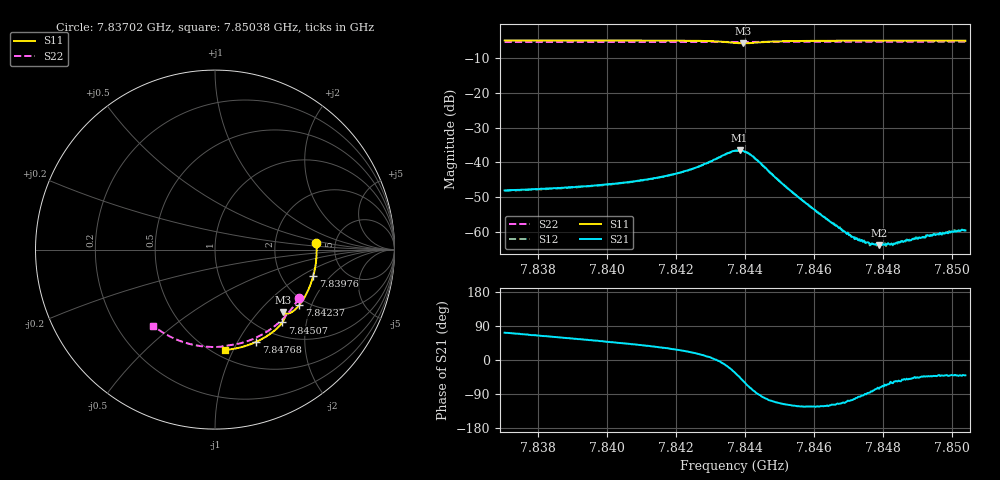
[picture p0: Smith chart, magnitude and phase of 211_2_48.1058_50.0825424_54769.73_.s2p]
#  HZ  S  RI  R  50.00
! Rohde & Schwarz Vector Network Analyzer
! Rohde-Schwarz,ZNB20-2Port,1311601062101988,3.16
! Created: UTC 12/23/2023, 3:55:45 AM
! freq[Hz]  re:S11  im:S11  re:S21  im:S21  re:S12  im:S12  re:S22  im:S22
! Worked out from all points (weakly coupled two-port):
!   401 points, 7.83702 GHz to 7.85038 GHz, reference 50 ohm
!   highest |S21| = -36.52 dB at 7.84384 GHz (marker M1); lowest = -63.9 dB at 7.84788 GHz (marker M2)
!   lowest |S11| = -5.7 dB at 7.84394 GHz (marker M3), VSWR 3.13, Z = 72.9 - j69 ohm
!   |S11| at or under -10 dB: nowhere
!   |S22| runs from -5.4 to -5.3 dB; largest |S21 - S12| = 0.00042
!   S11 on the Smith chart (normalised r, x): 7.83702 GHz: 3.57, +0.36; 7.83976 GHz: 3.00, -1.30; 7.84237 GHz: 1.81, -1.64; 7.84507 GHz: 1.25, -1.46; 7.84768 GHz: 0.80, -1.20; 7.85038 GHz: 0.57, -0.93
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7.837021e9  0.5651 0.0346  0.00121 0.00374  0.0012 0.00366  0.4665 -0.2712
7.839259e9  0.5553 -0.1139  0.00261 0.00366  0.00257 0.00363  0.3698 -0.394
7.83976e9  0.5476 -0.1465  0.003 0.00359  0.00294 0.0036  0.3434 -0.4174
7.841498e9  0.5039 -0.2569  0.00506 0.00337  0.00499 0.00334  0.2418 -0.4842
7.842366e9  0.4697 -0.3092  0.00723 0.00285  0.00717 0.00286  0.1855 -0.5086
7.843202e9  0.4207 -0.3517  0.0115 -0.000332  0.0115 -0.000211  0.1291 -0.5249
7.843703e9  0.3853 -0.3541  0.0122 -0.00814  0.0123 -0.00803  0.0954 -0.5305
7.843836e9  0.3814 -0.3501  0.0105 -0.0106  0.0103 -0.0105  0.0871 -0.5319
7.843937e9  0.3814 -0.3473  0.00841 -0.0119  0.00843 -0.0119  0.0808 -0.533
7.844104e9  0.3851 -0.3472  0.00456 -0.0126  0.00458 -0.0126  0.0701 -0.5349
7.844304e9  0.3904 -0.355  0.00079 -0.011  0.00086 -0.0112  0.0572 -0.5375
7.845073e9  0.3747 -0.4061  -0.00214 -0.00444  -0.00216 -0.0045  0.0033 -0.5428
7.845941e9  0.3314 -0.4515  -0.0012 -0.00185  -0.00123 -0.00181  -0.058 -0.5406
7.846476e9  0.3016 -0.4738  -0.000676 -0.00121  -0.000677 -0.00122  -0.0951 -0.5356
7.847111e9  0.2645 -0.4964  -0.000227 -0.000816  -0.000231 -0.000852  -0.1389 -0.5264
7.847244e9  0.2565 -0.5008  -0.000137 -0.00079  -0.000128 -0.000771  -0.148 -0.5239
7.847679e9  0.2302 -0.5137  8.15e-05 -0.000665  7.8e-05 -0.000681  -0.1772 -0.5152
7.847879e9  0.218 -0.5192  0.000156 -0.000618  0.000146 -0.000648  -0.1905 -0.5105
7.84818e9  0.1991 -0.5265  0.000296 -0.000589  0.000281 -0.000583  -0.21 -0.503
7.848347e9  0.1887 -0.5305  0.000371 -0.000559  0.00036 -0.000583  -0.2209 -0.4983
7.849817e9  0.0938 -0.5548  0.000748 -0.000633  0.000749 -0.000632  -0.3109 -0.4487
7.850385e9  0.0563 -0.5595  0.000793 -0.000678  0.000794 -0.00068  -0.3429 -0.425
